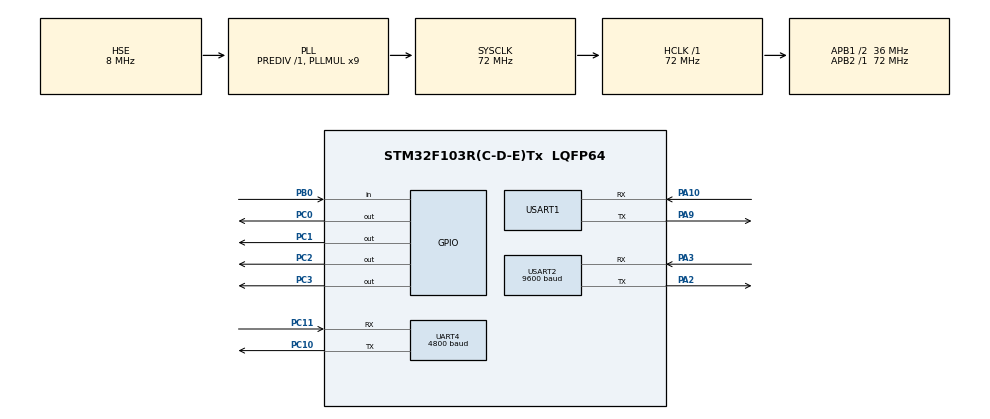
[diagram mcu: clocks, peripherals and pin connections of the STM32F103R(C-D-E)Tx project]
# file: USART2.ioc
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Mcu.Family=STM32F1
Mcu.Name=STM32F103R(C-D-E)Tx
Mcu.Package=LQFP64
NVIC.PriorityGroup=NVIC_PRIORITYGROUP_4
NVIC.RTC_IRQn=true\:0\:0\:false\:true\:true\:4\:true
NVIC.UART4_IRQn=true\:0\:0\:false\:true\:true\:2\:true
NVIC.USART1_IRQn=true\:0\:0\:false\:true\:true\:3\:true
NVIC.USART2_IRQn=true\:1\:0\:true\:true\:true\:1\:true
PA10.Mode=Asynchronous
PA10.Signal=USART1_RX
PA13.Mode=JTAG_5_pins
PA13.Signal=SYS_JTMS-SWDIO
PA14.Mode=JTAG_5_pins
PA14.Signal=SYS_JTCK-SWCLK
PA15.Mode=JTAG_5_pins
PA15.Signal=SYS_JTDI
PA2.Mode=Asynchronous
PA2.Signal=USART2_TX
PA3.Mode=Asynchronous
PA3.Signal=USART2_RX
PA9.Mode=Asynchronous
PA9.Signal=USART1_TX
PB0.Signal=GPIO_Input
PB3.Mode=JTAG_5_pins
PB3.Signal=SYS_JTDO-TRACESWO
PB4.Mode=JTAG_5_pins
PB4.Signal=SYS_NJTRST
PC0.Signal=GPIO_Output
PC1.Signal=GPIO_Output
PC10.Mode=Asynchronous
PC10.Signal=UART4_TX
PC11.Mode=Asynchronous
PC11.Signal=UART4_RX
PC2.Signal=GPIO_Output
PC3.Signal=GPIO_Output
PD0-OSC_IN.Mode=HSE-External-Oscillator
PD0-OSC_IN.Signal=RCC_OSC_IN
PD1-OSC_OUT.Mode=HSE-External-Oscillator
PD1-OSC_OUT.Signal=RCC_OSC_OUT
ProjectManager.HeapSize=0x200
ProjectManager.StackSize=0x400
ProjectManager.TargetToolchain=EWARM V7
RCC.AHBFreq_Value=72000000
RCC.APB1CLKDivider=RCC_HCLK_DIV2
RCC.APB1Freq_Value=36000000
RCC.APB1TimFreq_Value=72000000
RCC.APB2Freq_Value=72000000
RCC.APB2TimFreq_Value=72000000
RCC.HCLKFreq_Value=72000000
RCC.PLLMUL=RCC_PLL_MUL9
RCC.PLLSourceVirtual=RCC_PLLSOURCE_HSE
RCC.SYSCLKFreq_VALUE=72000000
RCC.SYSCLKSource=RCC_SYSCLKSOURCE_PLLCLK
RCC.USBFreq_Value=72000000
RTC.Date=15
RTC.Month=RTC_MONTH_NOVEMBER
RTC.WeekDay=RTC_WEEKDAY_THURSDAY
RTC.Year=18
UART4.BaudRate=4800
UART4.VirtualMode=Asynchronous
USART1.VirtualMode=VM_ASYNC
USART2.BaudRate=9600
USART2.VirtualMode=VM_ASYNC
VP_RTC_VS_RTC_Activate.Mode=RTC_Enabled
VP_RTC_VS_RTC_Calendar.Mode=RTC_Calendar
board=custom

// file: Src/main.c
/**
  ******************************************************************************
  * @file           : main.c
  * @brief          : Main program body
  ******************************************************************************
  ** This notice applies to any and all portions of this file
  * that are not between comment pairs USER CODE BEGIN and
  * USER CODE END. Other portions of this file, whether
  * inserted by the user or by software development tools
  * are owned by their respective copyright owners.
  *
  * COPYRIGHT(c) 2018 STMicroelectronics
  *
  * Redistribution and use in source and binary forms, with or without modification,
  * are permitted provided that the following conditions are met:
  *   1. Redistributions of source code must retain the above copyright notice,
  *      this list of conditions and the following disclaimer.
  *   2. Redistributions in binary form must reproduce the above copyright notice,
  *      this list of conditions and the following disclaimer in the documentation
  *      and/or other materials provided with the distribution.
  *   3. Neither the name of STMicroelectronics nor the names of its contributors
  *      may be used to endorse or promote products derived from this software
  *      without specific prior written permission.
  *
  * THIS SOFTWARE IS PROVIDED BY THE COPYRIGHT HOLDERS AND CONTRIBUTORS "AS IS"
  * AND ANY EXPRESS OR IMPLIED WARRANTIES, INCLUDING, BUT NOT LIMITED TO, THE
  * IMPLIED WARRANTIES OF MERCHANTABILITY AND FITNESS FOR A PARTICULAR PURPOSE ARE
  * DISCLAIMED. IN NO EVENT SHALL THE COPYRIGHT HOLDER OR CONTRIBUTORS BE LIABLE
  * FOR ANY DIRECT, INDIRECT, INCIDENTAL, SPECIAL, EXEMPLARY, OR CONSEQUENTIAL
  * DAMAGES (INCLUDING, BUT NOT LIMITED TO, PROCUREMENT OF SUBSTITUTE GOODS OR
  * SERVICES; LOSS OF USE, DATA, OR PROFITS; OR BUSINESS INTERRUPTION) HOWEVER
  * CAUSED AND ON ANY THEORY OF LIABILITY, WHETHER IN CONTRACT, STRICT LIABILITY,
  * OR TORT (INCLUDING NEGLIGENCE OR OTHERWISE) ARISING IN ANY WAY OUT OF THE USE
  * OF THIS SOFTWARE, EVEN IF ADVISED OF THE POSSIBILITY OF SUCH DAMAGE.
  *
  ******************************************************************************
  */
#include "main.h"
#include "stm32f1xx_hal.h"

/* USER CODE BEGIN Includes */
#include "smartplug_hw.h"
#include "smartplug_impl.h"
#include "if_nms.h"
#include "smartplug_led.h"
#include "smartplug_cfg.h"
#include "smartplug_it.h"
#include "crc16.h"
#include "smartplug_flash.h" //extected to erase
/* USER CODE END Includes */

RTC_HandleTypeDef hrtc;

UART_HandleTypeDef huart4;
UART_HandleTypeDef huart1;
UART_HandleTypeDef huart2;

/* USER CODE BEGIN PV */
/* Private variables ---------------------------------------------------------*/
CurConfig_t g_config;
FlashInfo_t g_FlashInfo;
RelayInfo_t g_RelayInfo;
RtcBase_t g_RtcConfig;
RtcQue_t g_RtcQue;
/* USER CODE END PV */

void SystemClock_Config(void);
static void MX_GPIO_Init(void);
static void MX_USART2_UART_Init(void);
static void MX_UART4_Init(void);
static void MX_USART1_UART_Init(void);
static void MX_RTC_Init(void);
static void MX_NVIC_Init(void);

/* USER CODE BEGIN PFP */
/* Private function prototypes -----------------------------------------------*/

/* USER CODE END PFP */

static void sw_init()
{
      //config init space
      uart_wait_for_flush(DEBUG_UART_PORT);
      nms_interface_init();
      nms_set_mtu(g_config.bc.act.mtu);
      impl_init();
      cfg_set_device_default(&g_config, &g_RtcConfig);
      //load_flash_info(FLASH_USER_START_ADDR, 14);
}

void main(void)
{
      /* USER CODE BEGIN 1 */
      uint32_t prev_tick = 0;
      uint32_t now;

      uint8_t RtcBuff[8] = {0,};

      /* USER CODE END 1 */

      /* MCU Configuration----------------------------------------------------------*/

      /* Reset of all peripherals, Initializes the Flash interface and the Systick. */
      HAL_Init();

      /* Configure the system clock */
      SystemClock_Config();

      /* Initialize all configured peripherals */
      MX_GPIO_Init();
      MX_RTC_Init();
      MX_NVIC_Init();
      MX_USART2_UART_Init();
      MX_UART4_Init();
      MX_USART1_UART_Init();

      hw_init();
      led_init();
      sw_init();
      UserRTC_SetTimer((uint8_t*)&g_RtcConfig.RtcBase);
      led_blink(kLED_DLINK, kTrue, 500, kTrue);
      /* Infinite loop */
      /* USER CODE BEGIN WHILE */
      while (1)
      {
          impl_check_rx();
          UserRTC_GetTimer();
          now = sys_tick_count();
          if(prev_tick != now)
          {
                smartplug_set_main_loop_run(); //
                impl_on_tick(now); //
#if _USE_CLI
                cli_handle_command();
#endif

                if(now % 1000 == 0)
                {
                      //DPRT("run... %u %u diff=%u", sys_uptime(), now, sys_tick_diff(now, prev_tick));
                }
                prev_tick = now;
          }
      }
      /* USER CODE END WHILE */

}

void SystemClock_Config(void)
{

  RCC_OscInitTypeDef RCC_OscInitStruct;
  RCC_ClkInitTypeDef RCC_ClkInitStruct;
  RCC_PeriphCLKInitTypeDef PeriphClkInit;

    /**Initializes the CPU, AHB and APB busses clocks
    */
  RCC_OscInitStruct.OscillatorType = RCC_OSCILLATORTYPE_LSI|RCC_OSCILLATORTYPE_HSE;
  RCC_OscInitStruct.HSEState = RCC_HSE_ON;
  RCC_OscInitStruct.HSEPredivValue = RCC_HSE_PREDIV_DIV1;
  RCC_OscInitStruct.HSIState = RCC_HSI_ON;
  RCC_OscInitStruct.LSIState = RCC_LSI_ON;
  RCC_OscInitStruct.PLL.PLLState = RCC_PLL_ON;
  RCC_OscInitStruct.PLL.PLLSource = RCC_PLLSOURCE_HSE;
  RCC_OscInitStruct.PLL.PLLMUL = RCC_PLL_MUL9;
  if (HAL_RCC_OscConfig(&RCC_OscInitStruct) != HAL_OK)
  {
    _Error_Handler(__FILE__, __LINE__);
  }

    /**Initializes the CPU, AHB and APB busses clocks
    */
  RCC_ClkInitStruct.ClockType = RCC_CLOCKTYPE_HCLK|RCC_CLOCKTYPE_SYSCLK
                              |RCC_CLOCKTYPE_PCLK1|RCC_CLOCKTYPE_PCLK2;
  RCC_ClkInitStruct.SYSCLKSource = RCC_SYSCLKSOURCE_PLLCLK;
  RCC_ClkInitStruct.AHBCLKDivider = RCC_SYSCLK_DIV1;
  RCC_ClkInitStruct.APB1CLKDivider = RCC_HCLK_DIV2;
  RCC_ClkInitStruct.APB2CLKDivider = RCC_HCLK_DIV1;

  if (HAL_RCC_ClockConfig(&RCC_ClkInitStruct, FLASH_LATENCY_2) != HAL_OK)
  {
    _Error_Handler(__FILE__, __LINE__);
  }

  PeriphClkInit.PeriphClockSelection = RCC_PERIPHCLK_RTC;
  PeriphClkInit.RTCClockSelection = RCC_RTCCLKSOURCE_LSI;
  if (HAL_RCCEx_PeriphCLKConfig(&PeriphClkInit) != HAL_OK)
  {
    _Error_Handler(__FILE__, __LINE__);
  }

    /**Configure the Systick interrupt time
    */
  HAL_SYSTICK_Config(HAL_RCC_GetHCLKFreq()/1000);

    /**Configure the Systick
    */
  HAL_SYSTICK_CLKSourceConfig(SYSTICK_CLKSOURCE_HCLK);

  /* SysTick_IRQn interrupt configuration */
  HAL_NVIC_SetPriority(SysTick_IRQn, 0, 0);
}

/**
  * @brief NVIC Configuration.
  * @retval None
  */
static void MX_NVIC_Init(void)
{
  /* USART2_IRQn interrupt configuration */
  HAL_NVIC_SetPriority(USART2_IRQn, 0, 0);
  HAL_NVIC_EnableIRQ(USART2_IRQn);
  /* UART4_IRQn interrupt configuration */
  HAL_NVIC_SetPriority(UART4_IRQn, 0, 0);
  HAL_NVIC_EnableIRQ(UART4_IRQn);
  /* USART1_IRQn interrupt configuration */
  HAL_NVIC_SetPriority(USART1_IRQn, 0, 0);
  HAL_NVIC_EnableIRQ(USART1_IRQn);
  /* RTC_IRQn interrupt configuration */
  HAL_NVIC_SetPriority(RTC_IRQn, 0, 0);
  HAL_NVIC_EnableIRQ(RTC_IRQn);
}

/* RTC init function */
static void MX_RTC_Init(void)
{

    /**Initialize RTC Only
    */
  hrtc.Instance = RTC;
  hrtc.Init.AsynchPrediv = RTC_AUTO_1_SECOND;
  hrtc.Init.OutPut = RTC_OUTPUTSOURCE_ALARM;
  if (HAL_RTC_Init(&hrtc) != HAL_OK)
  {
    _Error_Handler(__FILE__, __LINE__);
  }

    /**Initialize RTC and set the Time and Date
    */
}

/* UART4 init function */
static void MX_UART4_Init(void)
{

  huart4.Instance = UART4;
  huart4.Init.BaudRate = 4800;
  huart4.Init.WordLength = UART_WORDLENGTH_8B;
  huart4.Init.StopBits = UART_STOPBITS_1;
  huart4.Init.Parity = UART_PARITY_NONE;
  huart4.Init.Mode = UART_MODE_TX_RX;
  huart4.Init.HwFlowCtl = UART_HWCONTROL_NONE;
  huart4.Init.OverSampling = UART_OVERSAMPLING_16;
  if (HAL_UART_Init(&huart4) != HAL_OK)
  {
    _Error_Handler(__FILE__, __LINE__);
  }

}

/* USART1 init function */
static void MX_USART1_UART_Init(void)
{

  huart1.Instance = USART1;
  huart1.Init.BaudRate = 115200;
  huart1.Init.WordLength = UART_WORDLENGTH_8B;
  huart1.Init.StopBits = UART_STOPBITS_1;
  huart1.Init.Parity = UART_PARITY_NONE;
  huart1.Init.Mode = UART_MODE_TX_RX;
  huart1.Init.HwFlowCtl = UART_HWCONTROL_NONE;
  huart1.Init.OverSampling = UART_OVERSAMPLING_16;
  if (HAL_UART_Init(&huart1) != HAL_OK)
  {
    _Error_Handler(__FILE__, __LINE__);
  }

}

/* USART2 init function */
static void MX_USART2_UART_Init(void)
{
  huart2.Instance = USART2;
  huart2.Init.BaudRate = 9600;
  huart2.Init.WordLength = UART_WORDLENGTH_8B;
  huart2.Init.StopBits = UART_STOPBITS_1;
  huart2.Init.Parity = UART_PARITY_NONE;
  huart2.Init.Mode = UART_MODE_TX_RX;
  huart2.Init.HwFlowCtl = UART_HWCONTROL_NONE;
  huart2.Init.OverSampling = UART_OVERSAMPLING_16;

  if (HAL_UART_Init(&huart2) != HAL_OK)
  {
    _Error_Handler(__FILE__, __LINE__);
  }

  __HAL_UART_ENABLE_IT(&huart2, UART_IT_RXNE);

}

/** Configure pins as
        * Analog
        * Input
        * Output
        * EVENT_OUT
        * EXTI
*/
static void MX_GPIO_Init(void)
{

  GPIO_InitTypeDef GPIO_InitStruct;

  /* GPIO Ports Clock Enable */
  __HAL_RCC_GPIOD_CLK_ENABLE();
  __HAL_RCC_GPIOC_CLK_ENABLE();
  __HAL_RCC_GPIOA_CLK_ENABLE();
  __HAL_RCC_GPIOB_CLK_ENABLE();

  /*Configure GPIO pin Output Level */
  HAL_GPIO_WritePin(GPIOC, GPIO_PIN_0|GPIO_PIN_1|GPIO_PIN_2|GPIO_PIN_3, GPIO_PIN_RESET);

  /*Configure GPIO pins : PC0 PC1 PC2 PC3 */
  GPIO_InitStruct.Pin = GPIO_PIN_0|GPIO_PIN_1|GPIO_PIN_2|GPIO_PIN_3;
  GPIO_InitStruct.Mode = GPIO_MODE_OUTPUT_PP;
  GPIO_InitStruct.Pull = GPIO_NOPULL;
  GPIO_InitStruct.Speed = GPIO_SPEED_FREQ_LOW;
  HAL_GPIO_Init(GPIOC, &GPIO_InitStruct);

  /*Configure GPIO pin : PB0 */
  GPIO_InitStruct.Pin = GPIO_PIN_0;
  GPIO_InitStruct.Mode = GPIO_MODE_INPUT;
  GPIO_InitStruct.Pull = GPIO_NOPULL;
  HAL_GPIO_Init(GPIOB, &GPIO_InitStruct);

}

void _Error_Handler(char *file, int line)
{
  while(1)
  {
  }
}

/************************ (C) COPYRIGHT STMicroelectronics *****END OF FILE****/
